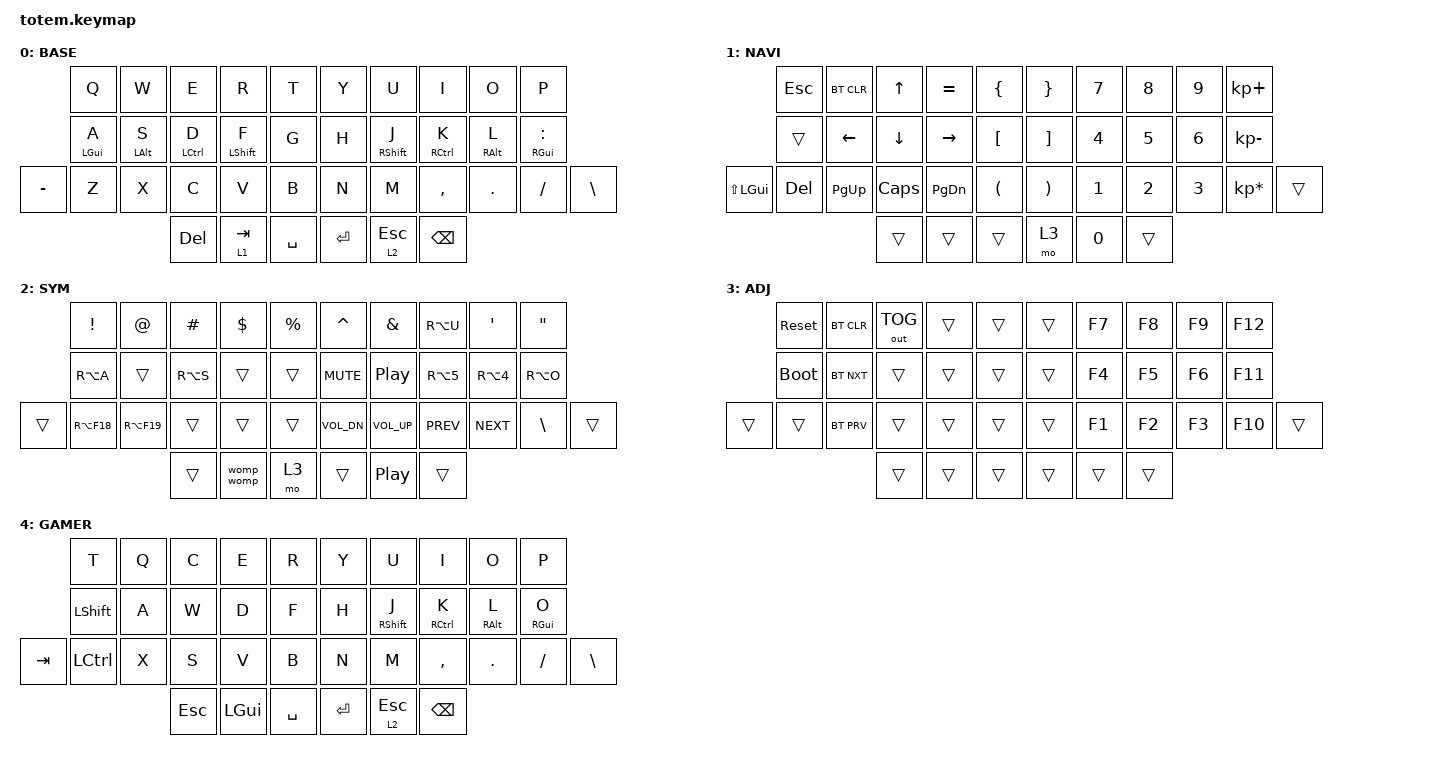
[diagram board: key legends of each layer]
//
//                                                        ▀▀▀▀▀     ▀▀▀▀▀          ▀▀█▀▀
//                                                        ▄▀▀▀▄  ▄  ▄▀▀▀▄  ▄  ▄▀▀▀▄  █  ▄▀▀▀▄
//                                                        █   █  █  █   █  █  █   █  █  █   █
//                                                         ▀▀▀   █   ▀▀▀   █   ▀▀▀   ▀   ▀▀▀
//                                                               █      ▄▄▄█▄▄▄    █   █  
//                                                               ▀      █  █  █     █▄█
//                                                             ▀▀▀▀▀    █  █  █      ▀
//                                                                      ▀  ▀  ▀
//
// ▄▄▄▄▄▄▄▄▄▄▄▄▄▄▄▄▄▄▄▄▄▄▄▄▄▄▄▄▄▄▄▄▄▄▄▄▄▄▄▄▄▄▄▄▄▄▄▄▄▄▄▄▄▄▄▄▄▄▄▄▄▄▄▄▄▄▄▄▄▄▄▄▄▄▄▄▄▄▄▄▄▄▄▄▄▄▄▄▄▄▄▄▄▄▄▄▄▄▄▄▄▄▄▄▄▄▄▄▄▄▄▄▄▄▄▄▄▄▄▄▄▄▄▄▄▄▄▄▄▄▄▄▄▄▄▄▄▄▄▄▄▄▄▄▄▄▄▄▄

#include <behaviors.dtsi>
#include <dt-bindings/zmk/bt.h>
#include <dt-bindings/zmk/keys.h>
#include <dt-bindings/zmk/outputs.h>

#define BASE 0
#define NAV  1
#define SYM  2
#define ADJ  3
#define TVP1 4
#define TVP2 5

&mt {
    quick-tap-ms = <100>;
    global-quick-tap;
    flavor = "tap-preferred";
    tapping-term-ms = <170>;
};

/ {
    combos {
        compatible = "zmk,combos";

        combo_esc {
            timeout-ms = <50>;
            key-positions = <0 1>;
            bindings = <&kp ESC>;
        };

        gamer {
            timeout-ms = <100>;
            key-positions = <11 12 13>;
            bindings = <&tog 4>;
        };
    };

    macros {
        womp_womp: womp_womp {
            compatible = "zmk,behavior-macro";
            #binding-cells = <0>;
            bindings = <&kp W &kp O &kp M &kp P &kp SPACE &kp W &kp O &kp M &kp P>;
            label = "WOMP_WOMP";
        };
    };

    keymap {
        compatible = "zmk,keymap";

        // ▄▄▄▄▄▄▄▄▄▄▄▄▄▄▄▄▄▄▄▄▄▄▄▄▄▄▄▄▄▄▄▄▄▄▄▄▄▄▄▄▄▄▄▄▄▄▄▄▄▄▄▄▄▄▄▄▄▄▄▄▄▄▄▄▄▄▄▄▄▄▄▄▄▄▄▄▄▄▄▄▄▄▄▄▄▄▄▄▄▄▄▄▄▄▄▄▄▄▄▄▄▄▄▄▄▄▄▄▄▄▄▄▄▄▄▄▄▄▄▄▄▄▄▄▄▄▄▄▄▄▄▄▄▄▄▄▄▄▄▄▄▄▄▄▄▄▄▄▄

        base_layer {
            // ┏━━━━━━━━━━━━━━━━━━━━━━━━━━━━━━━━━━━━━━━┓

            label = "BASE";

            // ┗━━━━━━━━━━━━━━━━━━━━━━━━━━━━━━━━━━━━━━━┛
            //             ┏━━━━━━━━━━━┳━━━━━━━━━━━┳━━━━━━━━━━━┳━━━━━━━━━━━┳━━━━━━━━━━━┓   ┏━━━━━━━━━━━┳━━━━━━━━━━━┳━━━━━━━━━━━┳━━━━━━━━━━━┳━━━━━━━━━━━┓
            //             ┃     Q     ┃     W     ┃     F     ┃     P     ┃     G     ┃   ┃     J     ┃     L     ┃     U     ┃     Y     ┃     ;     ┃
            //             ┣━━━━━━━━━━━╋━━━━━━━━━━━╋━━━━━━━━━━━╋━━━━━━━━━━━╋━━━━━━━━━━━┫   ┣━━━━━━━━━━━╋━━━━━━━━━━━╋━━━━━━━━━━━╋━━━━━━━━━━━╋━━━━━━━━━━━┫
            //             ┃     A     ┃     R     ┃     S     ┃     T     ┃     D     ┃   ┃     H     ┃     N     ┃     E     ┃     I     ┃     O     ┃
            // ┏━━━━━━━━━━━╋━━━━━━━━━━━╋━━━━━━━━━━━╋━━━━━━━━━━━╋━━━━━━━━━━━╋━━━━━━━━━━━┫   ┣━━━━━━━━━━━╋━━━━━━━━━━━╋━━━━━━━━━━━╋━━━━━━━━━━━╋━━━━━━━━━━━╋━━━━━━━━━━━┓
            // ┃     Q     ┃     Z     ┃     X     ┃     C     ┃     V     ┃     B     ┃   ┃     K     ┃     M     ┃     ,     ┃     .     ┃     /     ┃     \     ┃
            // ┗━━━━━━━━━━━┻━━━━━━━━━━━┻━━━━━━━━━━━╋━━━━━━━━━━━╋━━━━━━━━━━━╋━━━━━━━━━━━┫   ┣━━━━━━━━━━━╋━━━━━━━━━━━╋━━━━━━━━━━━╋━━━━━━━━━━━┻━━━━━━━━━━━┻━━━━━━━━━━━┛
            //                                     ┃    DEL    ┃    TAB    ┃    SPC    ┃   ┃   ENTER   ┃           ┃   BSPC    ┃
            //                                     ┗━━━━━━━━━━━┻━━━━━━━━━━━┻━━━━━━━━━━━┛   ┗━━━━━━━━━━━┻━━━━━━━━━━━┻━━━━━━━━━━━┛

            bindings = <
           &kp Q       &kp W       &kp E        &kp R        &kp T        &kp Y    &kp U        &kp I        &kp O       &kp P
           &mt LGUI A  &mt LALT S  &mt LCTRL D  &mt LSHFT F  &kp G        &kp H    &mt RSHFT J  &mt RCTRL K  &mt RALT L  &mt RGUI COLON
&kp MINUS  &kp Z       &kp X       &kp C        &kp V        &kp B        &kp N    &kp M        &kp COMMA    &kp DOT     &kp FSLH        &kp BSLH
                                   &kp DEL      &lt 1 TAB    &kp SPACE    &kp RET  &lt 2 ESC    &kp BSPC
            >;
        };

        // ▄▄▄▄▄▄▄▄▄▄▄▄▄▄▄▄▄▄▄▄▄▄▄▄▄▄▄▄▄▄▄▄▄▄▄▄▄▄▄▄▄▄▄▄▄▄▄▄▄▄▄▄▄▄▄▄▄▄▄▄▄▄▄▄▄▄▄▄▄▄▄▄▄▄▄▄▄▄▄▄▄▄▄▄▄▄▄▄▄▄▄▄▄▄▄▄▄▄▄▄▄▄▄▄▄▄▄▄▄▄▄▄▄▄▄▄▄▄▄▄▄▄▄▄▄▄▄▄▄▄▄▄▄▄▄▄▄▄▄▄▄▄▄▄▄▄▄▄▄

        nav_layer {
            // ┏━━━━━━━━━━━━━━━━━━━━━━━━━━━━━━━━━━━━━━━┓

            label = "NAVI";

            // ┗━━━━━━━━━━━━━━━━━━━━━━━━━━━━━━━━━━━━━━━┛
            //             ┏━━━━━━━━━━━┳━━━━━━━━━━━┳━━━━━━━━━━━┳━━━━━━━━━━━┳━━━━━━━━━━━┓   ┏━━━━━━━━━━━┳━━━━━━━━━━━┳━━━━━━━━━━━┳━━━━━━━━━━━┳━━━━━━━━━━━┓
            //             ┃           ┃           ┃     UP    ┃           ┃     {     ┃   ┃     }     ┃     7     ┃     8     ┃     9     ┃     +     ┃
            //             ┣━━━━━━━━━━━╋━━━━━━━━━━━╋━━━━━━━━━━━╋━━━━━━━━━━━╋━━━━━━━━━━━┫   ┣━━━━━━━━━━━╋━━━━━━━━━━━╋━━━━━━━━━━━╋━━━━━━━━━━━╋━━━━━━━━━━━┫
            //             ┃   SHIFT   ┃   LEFT    ┃    DOWN   ┃   RIGHT   ┃     [     ┃   ┃     ]     ┃     4     ┃     5     ┃     6     ┃     -     ┃
            // ┏━━━━━━━━━━━╋━━━━━━━━━━━╋━━━━━━━━━━━╋━━━━━━━━━━━╋━━━━━━━━━━━╋━━━━━━━━━━━┫   ┣━━━━━━━━━━━╋━━━━━━━━━━━╋━━━━━━━━━━━╋━━━━━━━━━━━╋━━━━━━━━━━━╋━━━━━━━━━━━┓
            // ┃           ┃           ┃   P UP    ┃  C LOCK   ┃  P DOWN   ┃     (     ┃   ┃     )     ┃     1     ┃     2     ┃     3     ┃     *     ┃           ┃
            // ┗━━━━━━━━━━━┻━━━━━━━━━━━┻━━━━━━━━━━━╋━━━━━━━━━━━╋━━━━━━━━━━━╋━━━━━━━━━━━┫   ┣━━━━━━━━━━━╋━━━━━━━━━━━╋━━━━━━━━━━━╋━━━━━━━━━━━┻━━━━━━━━━━━┻━━━━━━━━━━━┛
            //                                     ┃           ┃    TAB    ┃    SPC    ┃   ┃    DEL    ┃     0     ┃           ┃
            //                                     ┗━━━━━━━━━━━┻━━━━━━━━━━━┻━━━━━━━━━━━┛   ┗━━━━━━━━━━━┻━━━━━━━━━━━┻━━━━━━━━━━━┛

            bindings = <
                  &kp ESC  &bt BT_CLR  &kp UP    &kp EQUAL  &kp LBRC    &kp RBRC  &kp N7        &kp N8        &kp N9        &kp KP_PLUS
                  &trans   &kp LEFT    &kp DOWN  &kp RIGHT  &kp LBKT    &kp RBKT  &kp NUMBER_4  &kp N5        &kp NUMBER_6  &kp KP_MINUS
&kp LS(LEFT_GUI)  &kp DEL  &kp PG_UP   &kp CAPS  &kp PG_DN  &kp LPAR    &kp RPAR  &kp NUMBER_1  &kp NUMBER_2  &kp NUMBER_3  &kp KP_MULTIPLY  &trans
                                       &trans    &trans     &trans      &mo 3     &kp N0        &trans
            >;
        };

        // ▄▄▄▄▄▄▄▄▄▄▄▄▄▄▄▄▄▄▄▄▄▄▄▄▄▄▄▄▄▄▄▄▄▄▄▄▄▄▄▄▄▄▄▄▄▄▄▄▄▄▄▄▄▄▄▄▄▄▄▄▄▄▄▄▄▄▄▄▄▄▄▄▄▄▄▄▄▄▄▄▄▄▄▄▄▄▄▄▄▄▄▄▄▄▄▄▄▄▄▄▄▄▄▄▄▄▄▄▄▄▄▄▄▄▄▄▄▄▄▄▄▄▄▄▄▄▄▄▄▄▄▄▄▄▄▄▄▄▄▄▄▄▄▄▄▄▄▄▄

        sim_layer {
            // ┏━━━━━━━━━━━━━━━━━━━━━━━━━━━━━━━━━━━━━━━┓

            label = "SYM";

            // ┗━━━━━━━━━━━━━━━━━━━━━━━━━━━━━━━━━━━━━━━┛
            //             ┏━━━━━━━━━━━┳━━━━━━━━━━━┳━━━━━━━━━━━┳━━━━━━━━━━━┳━━━━━━━━━━━┓   ┏━━━━━━━━━━━┳━━━━━━━━━━━┳━━━━━━━━━━━┳━━━━━━━━━━━┳━━━━━━━━━━━┓
            //             ┃     !     ┃     @     ┃     #     ┃     $     ┃     %     ┃   ┃     ˆ     ┃     &     ┃     Ü     ┃     '     ┃     "     ┃
            //             ┣━━━━━━━━━━━╋━━━━━━━━━━━╋━━━━━━━━━━━╋━━━━━━━━━━━╋━━━━━━━━━━━┫   ┣━━━━━━━━━━━╋━━━━━━━━━━━╋━━━━━━━━━━━╋━━━━━━━━━━━╋━━━━━━━━━━━┫
            //             ┃     Ä     ┃           ┃    SZ     ┃           ┃           ┃   ┃   MUTE    ┃   YEN     ┃   EURO    ┃  POUND    ┃     Ö     ┃
            // ┏━━━━━━━━━━━╋━━━━━━━━━━━╋━━━━━━━━━━━╋━━━━━━━━━━━╋━━━━━━━━━━━╋━━━━━━━━━━━┫   ┣━━━━━━━━━━━╋━━━━━━━━━━━╋━━━━━━━━━━━╋━━━━━━━━━━━╋━━━━━━━━━━━╋━━━━━━━━━━━┓
            // ┃           ┃  EMAIL1   ┃  EMAIL2   ┃           ┃           ┃           ┃   ┃   VOL-    ┃   VOL+    ┃   LAST    ┃   NEXT    ┃     \     ┃           ┃
            // ┗━━━━━━━━━━━┻━━━━━━━━━━━┻━━━━━━━━━━━╋━━━━━━━━━━━╋━━━━━━━━━━━╋━━━━━━━━━━━┫   ┣━━━━━━━━━━━╋━━━━━━━━━━━╋━━━━━━━━━━━╋━━━━━━━━━━━┻━━━━━━━━━━━┻━━━━━━━━━━━┛
            //                                     ┃           ┃    GIF    ┃    ADJ    ┃   ┃           ┃           ┃           ┃
            //                                     ┗━━━━━━━━━━━┻━━━━━━━━━━━┻━━━━━━━━━━━┛   ┗━━━━━━━━━━━┻━━━━━━━━━━━┻━━━━━━━━━━━┛

            bindings = <
        &kp EXCL     &kp AT       &kp HASH   &kp DLLR    &kp PRCNT    &kp CARET     &kp AMPS          &kp RA(U)   &kp SQT     &kp DQT
        &kp RA(A)    &trans       &kp RA(S)  &trans      &trans       &kp C_MUTE    &kp C_PLAY_PAUSE  &kp RA(N5)  &kp RA(N4)  &kp RA(O)
&trans  &kp RA(F18)  &kp RA(F19)  &trans     &trans      &trans       &kp C_VOL_DN  &kp C_VOL_UP      &kp C_PREV  &kp C_NEXT  &kp BSLH   &trans
                                  &trans     &womp_womp  &mo 3        &trans        &kp C_PP          &trans
            >;
        };

        // ▄▄▄▄▄▄▄▄▄▄▄▄▄▄▄▄▄▄▄▄▄▄▄▄▄▄▄▄▄▄▄▄▄▄▄▄▄▄▄▄▄▄▄▄▄▄▄▄▄▄▄▄▄▄▄▄▄▄▄▄▄▄▄▄▄▄▄▄▄▄▄▄▄▄▄▄▄▄▄▄▄▄▄▄▄▄▄▄▄▄▄▄▄▄▄▄▄▄▄▄▄▄▄▄▄▄▄▄▄▄▄▄▄▄▄▄▄▄▄▄▄▄▄▄▄▄▄▄▄▄▄▄▄▄▄▄▄▄▄▄▄▄▄▄▄▄▄▄▄

        adjust_layer {
            // ┏━━━━━━━━━━━━━━━━━━━━━━━━━━━━━━━━━━━━━━━┓

            label = "ADJ";

            // ┗━━━━━━━━━━━━━━━━━━━━━━━━━━━━━━━━━━━━━━━┛
            //             ┏━━━━━━━━━━━┳━━━━━━━━━━━┳━━━━━━━━━━━┳━━━━━━━━━━━┳━━━━━━━━━━━┓   ┏━━━━━━━━━━━┳━━━━━━━━━━━┳━━━━━━━━━━━┳━━━━━━━━━━━┳━━━━━━━━━━━┓
            //             ┃   RESET   ┃ BT CLEAR  ┃  OUT TOG  ┃           ┃           ┃   ┃           ┃    F7     ┃    F8     ┃    F9     ┃    F12    ┃
            //             ┣━━━━━━━━━━━╋━━━━━━━━━━━╋━━━━━━━━━━━╋━━━━━━━━━━━╋━━━━━━━━━━━┫   ┣━━━━━━━━━━━╋━━━━━━━━━━━╋━━━━━━━━━━━╋━━━━━━━━━━━╋━━━━━━━━━━━┫
            //             ┃ BOOTLOAD  ┃ BT NEXT   ┃           ┃           ┃           ┃   ┃           ┃    F4     ┃    F5     ┃    F6     ┃    F11    ┃
            // ┏━━━━━━━━━━━╋━━━━━━━━━━━╋━━━━━━━━━━━╋━━━━━━━━━━━╋━━━━━━━━━━━╋━━━━━━━━━━━┫   ┣━━━━━━━━━━━╋━━━━━━━━━━━╋━━━━━━━━━━━╋━━━━━━━━━━━╋━━━━━━━━━━━╋━━━━━━━━━━━┓
            // ┃           ┃           ┃ BT PREV   ┃           ┃           ┃           ┃   ┃           ┃    F1     ┃    F2     ┃    F3     ┃    F10    ┃           ┃
            // ┗━━━━━━━━━━━┻━━━━━━━━━━━┻━━━━━━━━━━━╋━━━━━━━━━━━╋━━━━━━━━━━━╋━━━━━━━━━━━┫   ┣━━━━━━━━━━━╋━━━━━━━━━━━╋━━━━━━━━━━━╋━━━━━━━━━━━┻━━━━━━━━━━━┻━━━━━━━━━━━┛
            //                                     ┃           ┃           ┃           ┃   ┃           ┃           ┃           ┃
            //                                     ┗━━━━━━━━━━━┻━━━━━━━━━━━┻━━━━━━━━━━━┛   ┗━━━━━━━━━━━┻━━━━━━━━━━━┻━━━━━━━━━━━┛

            bindings = <
        &sys_reset   &bt BT_CLR  &out OUT_TOG  &trans  &trans    &trans  &kp F7  &kp F8  &kp F9  &kp F12
        &bootloader  &bt BT_NXT  &trans        &trans  &trans    &trans  &kp F4  &kp F5  &kp F6  &kp F11
&trans  &trans       &bt BT_PRV  &trans        &trans  &trans    &trans  &kp F1  &kp F2  &kp F3  &kp F10  &trans
                                 &trans        &trans  &trans    &trans  &trans  &trans
            >;
        };

        // ▄▄▄▄▄▄▄▄▄▄▄▄▄▄▄▄▄▄▄▄▄▄▄▄▄▄▄▄▄▄▄▄▄▄▄▄▄▄▄▄▄▄▄▄▄▄▄▄▄▄▄▄▄▄▄▄▄▄▄▄▄▄▄▄▄▄▄▄▄▄▄▄▄▄▄▄▄▄▄▄▄▄▄▄▄▄▄▄▄▄▄▄▄▄▄▄▄▄▄▄▄▄▄▄▄▄▄▄▄▄▄▄▄▄▄▄▄▄▄▄▄▄▄▄▄▄▄▄▄▄▄▄▄▄▄▄▄▄▄▄▄▄▄▄▄▄▄▄▄

        GAMER {
            label = "GAMER";
            bindings = <
         &kp T             &kp Q  &kp C    &kp E         &kp R        &kp Y    &kp U        &kp I        &kp O       &kp P
         &kp LEFT_SHIFT    &kp A  &kp W    &kp D         &kp F        &kp H    &mt RSHFT J  &mt RCTRL K  &mt RALT L  &mt RGUI O
&kp TAB  &kp LEFT_CONTROL  &kp X  &kp S    &kp V         &kp B        &kp N    &kp M        &kp COMMA    &kp DOT     &kp FSLH    &kp BSLH
                                  &kp ESC  &kp LEFT_GUI  &kp SPACE    &kp RET  &lt 2 ESC    &kp BSPC
            >;
        };

        // ▄▄▄▄▄▄▄▄▄▄▄▄▄▄▄▄▄▄▄▄▄▄▄▄▄▄▄▄▄▄▄▄▄▄▄▄▄▄▄▄▄▄▄▄▄▄▄▄▄▄▄▄▄▄▄▄▄▄▄▄▄▄▄▄▄▄▄▄▄▄▄▄▄▄▄▄▄▄▄▄▄▄▄▄▄▄▄▄▄▄▄▄▄▄▄▄▄▄▄▄▄▄▄▄▄▄▄▄▄▄▄▄▄▄▄▄▄▄▄▄▄▄▄▄▄▄▄▄▄▄▄▄▄▄▄▄▄▄▄▄▄▄▄▄▄▄▄▄▄
    };
};
